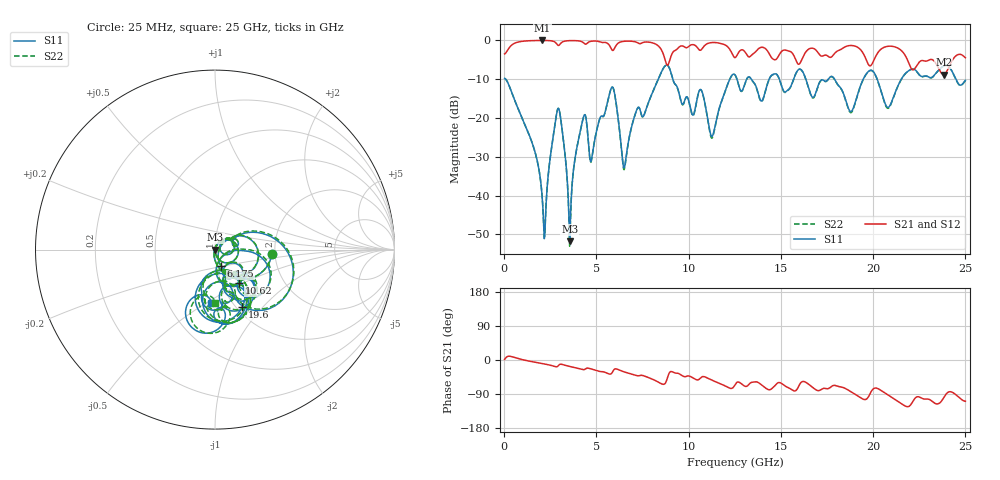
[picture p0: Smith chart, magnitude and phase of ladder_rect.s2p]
! R_s4_rect_2v: via A with the finite cavity (rect), B open
# Hz S RI R 50
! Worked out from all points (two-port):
!   1000 points, 25 MHz to 25 GHz, reference 50 ohm
!   highest |S21| = -0.21 dB at 2.075 GHz (marker M1); lowest = -9.0 dB at 23.82 GHz (marker M2)
!   |S21| within 3 dB of the highest: 118.3 MHz to 8.584 GHz (8.466 GHz wide, 195 % of centre); 9.149 GHz to 12.32 GHz (3.166 GHz wide, 29.5 % of centre)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
!   lowest |S11| = -51.7 dB at 3.55 GHz (marker M3), VSWR 1.01, Z = 50.3 - j0.0557 ohm
!   |S11| at or under -10 dB: 43.43 MHz to 8.364 GHz (8.321 GHz wide, 198 % of centre); 9.134 GHz to 12.24 GHz (3.108 GHz wide, 29.1 % of centre); 17.89 GHz to 19.48 GHz (1.59 GHz wide, 8.51 % of centre)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
!   |S22| runs from -53.0 to -6.5 dB; largest |S21 - S12| = 0
!   S11 on the Smith chart (normalised r, x): 25 MHz: 1.93, -0.10; 6.175 GHz: 1.05, -0.20; 10.62 GHz: 1.21, -0.47; 19.6 GHz: 1.06, -0.78; 25 GHz: 0.80, -0.53
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2.5e7  0.317 -0.0224  0.656 0.0204  0.656 0.0204  0.317 -0.0224
1.625e9  -0.0046 -0.0392  0.9686 -0.0924  0.9686 -0.0924  -0.00444 -0.0392
2.075e9  -0.00437 -0.00745  0.9629 -0.1603  0.9629 -0.1603  -0.00443 -0.00745
2.925e9  0.131 -0.00922  0.8127 -0.2264  0.8127 -0.2264  0.1309 -0.00778
3.55e9  0.00253 -0.000554  0.9286 -0.2833  0.9286 -0.2833  0.0022 -0.000399
4.2e9  0.0565 0.0576  0.8581 -0.3922  0.8581 -0.3922  0.0552 0.0587
4.725e9  0.026 0.0107  0.8734 -0.3841  0.8734 -0.3841  0.0252 0.0114
5.8e9  0.2367 0.00347  0.621 -0.4573  0.621 -0.4573  0.236 0.00874
6.175e9  0.0337 -0.0934  0.8144 -0.3821  0.8144 -0.3821  0.0349 -0.0922
6.525e9  0.0231 -0.00159  0.8121 -0.5002  0.8121 -0.5002  0.0222 -0.000474
8.35e9  0.3009 0.0771  0.44 -0.7085  0.44 -0.7085  0.2977 0.087
8.975e9  0.2496 -0.3397  0.4595 -0.291  0.4595 -0.291  0.2591 -0.3312
1.02e10  0.0565 -0.0932  0.5949 -0.6252  0.5949 -0.6252  0.0583 -0.0897
1.0625e10  0.1338 -0.1863  0.4863 -0.5448  0.4863 -0.5448  0.1392 -0.18
1.1275e10  0.0434 -0.0374  0.5469 -0.7371  0.5469 -0.7371  0.0432 -0.0337
1.2525e10  0.2319 -0.2622  0.2534 -0.532  0.2534 -0.532  0.2418 -0.2505
1.6675e10  -0.00654 -0.1861  0.2587 -0.7333  0.2587 -0.7333  0.00233 -0.1832
1.88e10  0.0178 -0.1179  0.0911 -0.8369  0.0911 -0.8369  0.0242 -0.1131
1.96e10  0.151 -0.3213  -0.138 -0.5527  -0.138 -0.5527  0.1708 -0.3088
2.085e10  0.0297 -0.133  -0.0511 -0.8224  -0.0511 -0.8224  0.0383 -0.1273
2.3825e10  -0.0173 -0.4607  -0.0586 -0.3503  -0.0586 -0.3503  0.0168 -0.4589
2.5e10  -0.0239 -0.299  -0.1895 -0.5537  -0.1895 -0.5537  -0.000647 -0.2979
